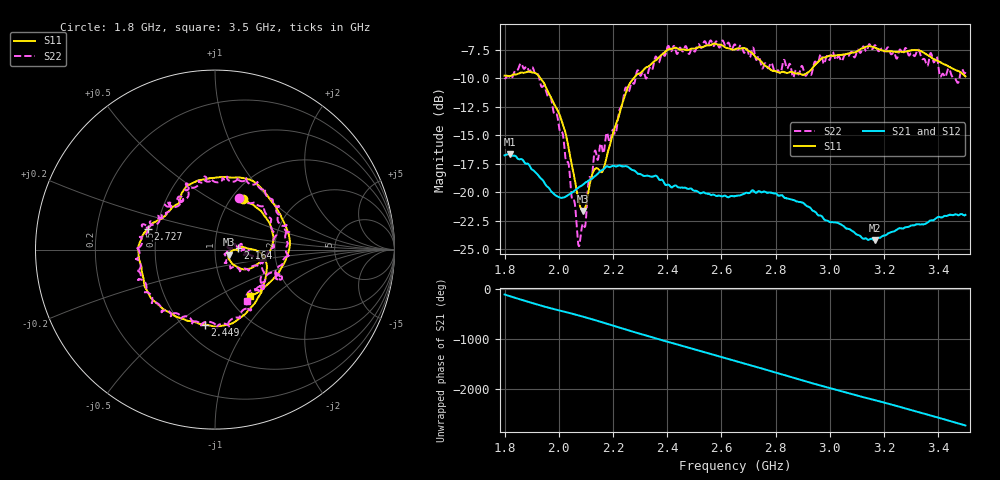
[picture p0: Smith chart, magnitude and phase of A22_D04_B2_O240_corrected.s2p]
! Created with skrf 1.9.0 (http://scikit-rf.org).
# Hz S RI R 50.0
!freq ReS11 ImS11 ReS21 ImS21 ReS12 ImS12 ReS22 ImS22
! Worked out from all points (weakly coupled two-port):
!   1601 points, 1.8 GHz to 3.5 GHz, reference 50 ohm
!   highest |S21| = -16.66 dB at 1.818 GHz (marker M1); lowest = -24.2 dB at 3.165 GHz (marker M2)
!   lowest |S11| = -21.6 dB at 2.09 GHz (marker M3), VSWR 1.18, Z = 58.4 - j3.28 ohm
!   |S11| at or under -10 dB: 1.932 GHz to 2.277 GHz (345.1 MHz wide, 16.4 % of centre)
!   |S22| runs from -24.7 to -6.7 dB; largest |S21 - S12| = 0.0025
!   S11 on the Smith chart (normalised r, x): 1.8 GHz: 1.13, +0.72; 2.164 GHz: 1.29, +0.02; 2.449 GHz: 0.64, -0.65; 2.727 GHz: 0.45, +0.12; 3.5 GHz: 1.26, -0.72
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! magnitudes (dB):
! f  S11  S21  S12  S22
! 1.8 GHz  -9.8  -16.8  -16.8  -10.0
! 1.818 GHz  -9.8  -16.7  -16.7  -9.9
! 1.903 GHz  -9.5  -18.0  -18.0  -9.0
! 1.968 GHz  -11.6  -19.8  -19.8  -11.6
! 2.015 GHz  -14.0  -20.5  -20.5  -14.9
! 2.072 GHz  -20.6  -19.6  -19.6  -24.6
! 2.084 GHz  -21.5  -19.4  -19.4  -23.2
! 2.09 GHz  -21.6  -19.3  -19.4  -22.8
! 2.131 GHz  -18.0  -18.6  -18.6  -16.5
! 2.164 GHz  -18.0  -18.0  -17.9  -16.6
! 2.259 GHz  -10.6  -17.8  -17.8  -11.2
! 2.367 GHz  -8.2  -18.8  -18.7  -8.6
! 2.449 GHz  -7.5  -19.6  -19.6  -7.4
! 2.65 GHz  -7.5  -20.3  -20.3  -7.1
! 2.727 GHz  -8.2  -20.0  -20.0  -8.3
! 2.81 GHz  -9.5  -20.3  -20.2  -9.4
! 2.934 GHz  -9.2  -21.5  -21.5  -9.6
! 3.165 GHz  -7.3  -24.2  -24.1  -7.1
! 3.217 GHz  -7.7  -23.6  -23.5  -7.4
! 3.375 GHz  -8.2  -22.5  -22.4  -7.9
! 3.468 GHz  -9.3  -21.9  -21.9  -10.3
! 3.5 GHz  -9.8  -22.0  -22.0  -9.5
